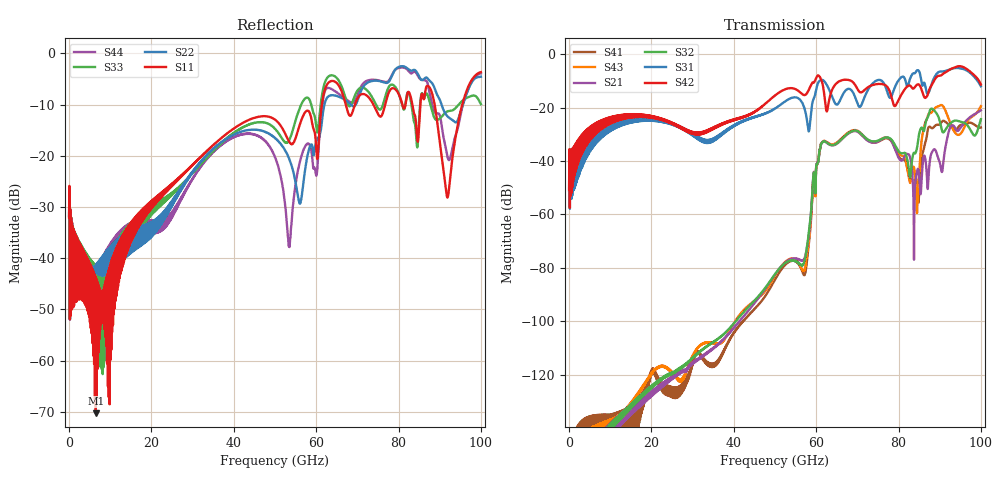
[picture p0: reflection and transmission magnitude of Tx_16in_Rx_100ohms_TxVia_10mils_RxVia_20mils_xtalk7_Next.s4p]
! Info: Touchstone file created by Circ.  Input file=Tx_16in_Rx_100ohms_TxVia_10mils_RxVia_20mils1.circ
# Hz S RI R 50
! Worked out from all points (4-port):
!   10000 points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, 10 MHz to 100 GHz, reference 50 ohm
!   strongest paths, dB at 10 MHz, 25.01 GHz, 50.01 GHz, 75.01 GHz, 100 GHz:
!     S42: -50.5, -26.1, -15.4, -11.1, -11.3
!     S31: -51.1, -26.3, -20.3, -9.6, -12.0
!     S32: -, -119.8, -82.3, -32.3, -24.3
!     S21: -, -121.4, -82.5, -32.7, -21.0
!     S43: -153.9, -119.4, -82.9, -32.4, -19.4
!     S41: -154.1, -125.9, -84.4, -32.8, -27.4
!   lowest |S11| = -70.3 dB at 6.49 GHz (marker M1), VSWR 1.00, Z = 50 - j0.0214 ohm
!   |S11| at or under -10 dB: start of sweep to 61.39 GHz; 73.91 GHz to 76.75 GHz (2.84 GHz wide, 3.77 % of centre); 88.77 GHz to 95.48 GHz (6.708 GHz wide, 7.28 % of centre)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
1e7  0.0231 0.0092  2.75e-11 -6.75e-11  0.000602 0.00271  -3.15e-09 1.95e-08
     2.75e-11 -6.75e-11  0.0247 0.0087  7.35e-13 -8.39e-11  0.00116 0.00275
     0.000602 0.00271  7.35e-13 -8.39e-11  0.024 0.00871  -5.07e-09 1.94e-08
     -3.15e-09 1.95e-08  0.00116 0.00275  -5.07e-09 1.94e-08  0.0245 0.00874
6.49e9  -0.000218 -0.000214  -2.61e-08 3.31e-08  0.0143 0.0245  -1.1e-07 1.33e-07
        -2.61e-08 3.31e-08  0.00736 0.00398  -3.51e-08 2.46e-08  0.0249 0.0276
        0.0143 0.0245  -3.51e-08 2.46e-08  -0.00153 -0.00235  -9.44e-08 4.72e-08
        -1.1e-07 1.33e-07  0.0249 0.0276  -9.44e-08 4.72e-08  0.00642 0.00427
5.689e10  0.2012 -0.1453  0.000135 4.07e-05  0.0449 0.1026  7.61e-05 -1.78e-05
          0.000135 4.07e-05  -0.0485 0.0246  0.00011 4.55e-05  0.1145 0.1306
          0.0449 0.1026  0.00011 4.55e-05  0.3076 -0.1575  8.87e-05 -6.45e-06
          7.61e-05 -1.78e-05  0.1145 0.1306  8.87e-05 -6.45e-06  -0.0663 -0.0912
6.164e10  0.2972 -0.2163  -0.00142 -0.023  0.2969 0.1409  -0.00193 -0.0233
          -0.00142 -0.023  -0.2022 -0.1667  -0.00257 -0.0229  0.0448 -0.2547
          0.2969 0.1409  -0.00257 -0.0229  0.3225 -0.299  -0.00309 -0.0232
          -0.00193 -0.0233  0.0448 -0.2547  -0.00309 -0.0232  -0.3022 -0.1794
8.45e10  0.1499 -0.0327  0.00532 -0.00338  -0.4992 -0.012  0.00275 0.000983
         0.00532 -0.00338  -0.6363 -0.1318  -0.0176 0.00281  0.0102 0.2692
         -0.4992 -0.012  -0.0176 0.00281  0.121 -0.018  -0.00107 0.000228
         0.00275 0.000983  0.0102 0.2692  -0.00107 0.000228  -0.6032 -0.1662
8.743e10  0.222 -0.4152  -0.00104 0.0073  -0.0995 0.1739  0.0274 0.0343
          -0.00104 0.0073  -0.432 0.3367  0.0679 0.0417  0.0622 0.2041
          -0.0995 0.1739  0.0679 0.0417  -0.1426 -0.3209  0.0606 0.0489
          0.0274 0.0343  0.0622 0.2041  0.0606 0.0489  -0.2853 0.3262
1e11  -0.656 0.0025  0.0381 -0.0809  0.0618 0.2438  -0.0425 -0.00244
      0.0381 -0.0809  -0.591 0.0387  0.0232 -0.0561  0.0989 0.2526
      0.0618 0.2438  0.0232 -0.0561  -0.2764 0.1603  0.00567 -0.1066
      -0.0425 -0.00244  0.0989 0.2526  0.00567 -0.1066  -0.6321 0.0866
